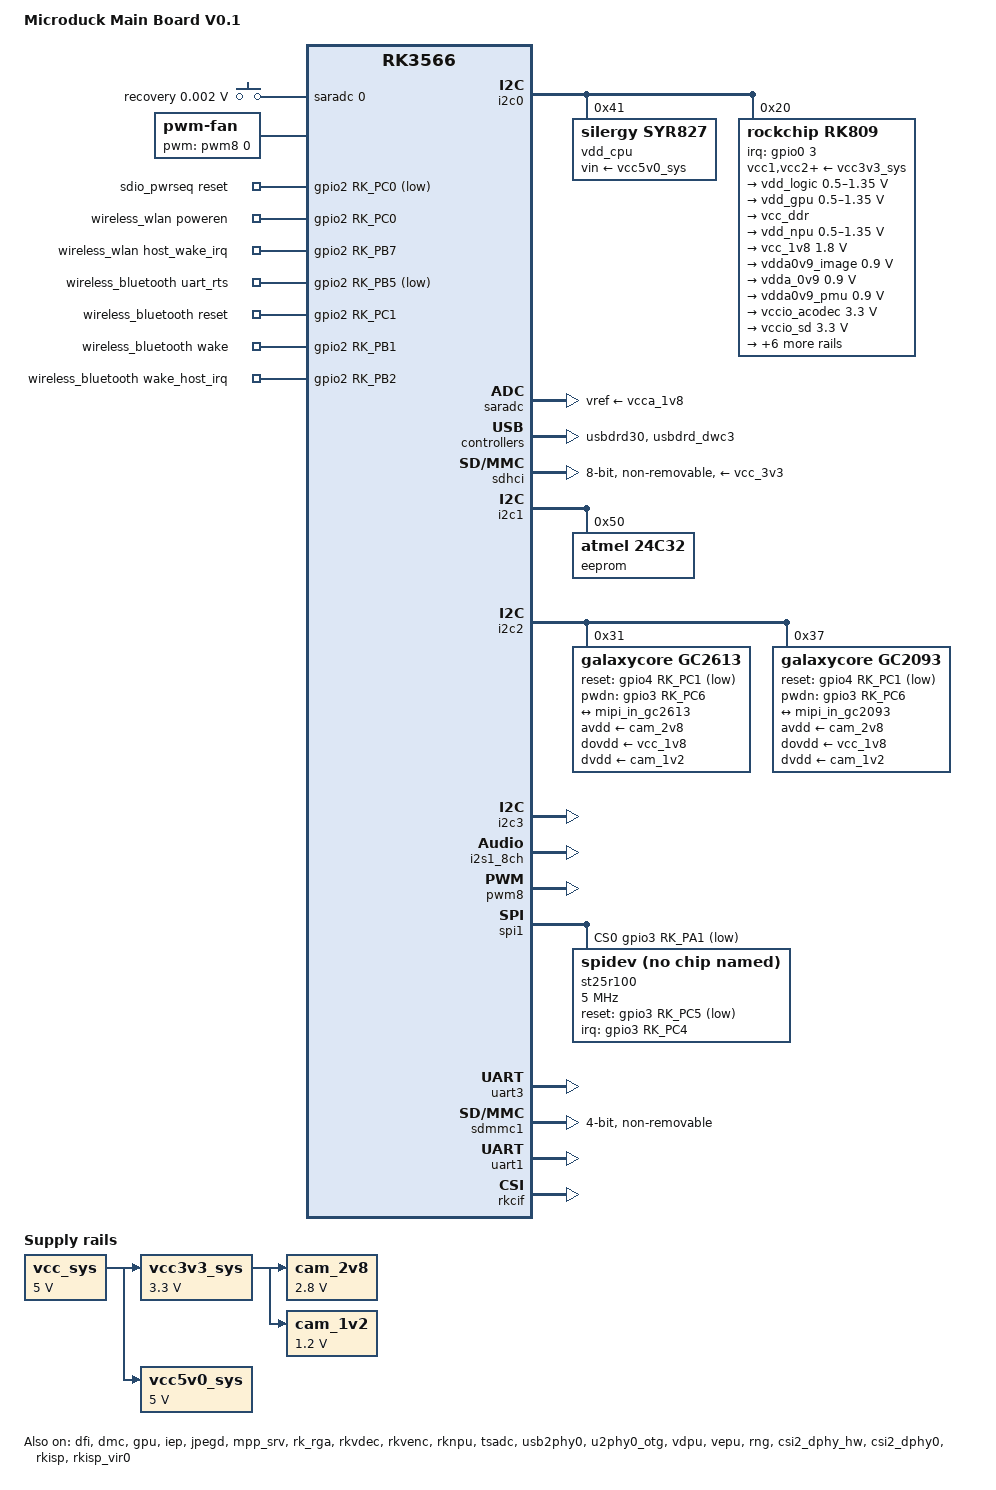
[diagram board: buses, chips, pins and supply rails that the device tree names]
// SPDX-License-Identifier: (GPL-2.0+ OR MIT)
/*
 * Copyright (c) 2022 Rockchip Electronics Co., Ltd.
 * Copyright (c) 2026 Microduck Team.
 *
 * Microduck board DTS. Platform, power tree, debug UART, eMMC, USB-C OTG,
 * recovery key, EEPROM, Qwiic, fan, audio, GC2613/GC2093 camera, NFC,
 * DYNAMIXEL and WQ9201S wireless follow the D4 (sch_0915) schematic.
 * Electrical details are pending first-board validation.
 */

/dts-v1/;

#include <dt-bindings/clock/rk3568-cru.h>
#include <dt-bindings/gpio/gpio.h>
#include <dt-bindings/pinctrl/rockchip.h>
#include <dt-bindings/input/rk-input.h>
#include <dt-bindings/power/rk3568-power.h>
#include "rk3566.dtsi"

/ {
	model = "Microduck Main Board V0.1";
	compatible = "seeed,microduck", "rockchip,rk3566";

	fiq_debugger: fiq-debugger {
		compatible = "rockchip,fiq-debugger";
		rockchip,serial-id = <2>;
		rockchip,wake-irq = <0>;
		/* If enable uart uses irq instead of fiq */
		rockchip,irq-mode-enable = <1>;
		rockchip,baudrate = <1500000>;  /* Only 115200 and 1500000 */
		interrupts = <GIC_SPI 252 IRQ_TYPE_LEVEL_LOW>;
		pinctrl-names = "default";
		pinctrl-0 = <&uart2m0_xfer>;
		status = "okay";
	};

	debug: debug@fd904000 {
		compatible = "rockchip,debug";
		reg = <0x0 0xfd904000 0x0 0x1000>,
			<0x0 0xfd905000 0x0 0x1000>,
			<0x0 0xfd906000 0x0 0x1000>,
			<0x0 0xfd907000 0x0 0x1000>;
	};

	cspmu: cspmu@fd90c000 {
		compatible = "rockchip,cspmu";
		reg = <0x0 0xfd90c000 0x0 0x1000>,
			<0x0 0xfd90d000 0x0 0x1000>,
			<0x0 0xfd90e000 0x0 0x1000>,
			<0x0 0xfd90f000 0x0 0x1000>;
	};

	vcc_sys: vcc-sys {
		compatible = "regulator-fixed";
		regulator-name = "vcc_sys";
		regulator-always-on;
		regulator-boot-on;
		regulator-min-microvolt = <5000000>;
		regulator-max-microvolt = <5000000>;
	};

	vcc3v3_sys: vcc3v3-sys {
		compatible = "regulator-fixed";
		regulator-name = "vcc3v3_sys";
		regulator-always-on;
		regulator-boot-on;
		regulator-min-microvolt = <3300000>;
		regulator-max-microvolt = <3300000>;
		vin-supply = <&vcc_sys>;
	};

	vcc5v0_sys: vcc5v0-sys {
		compatible = "regulator-fixed";
		regulator-name = "vcc5v0_sys";
		regulator-always-on;
		regulator-boot-on;
		regulator-min-microvolt = <5000000>;
		regulator-max-microvolt = <5000000>;
		vin-supply = <&vcc_sys>;
	};

	/* Recovery key on SW2 pulls SARADC_VIN0 low (sheet 21) */
	adc_keys: adc-keys {
		compatible = "adc-keys";
		io-channels = <&saradc 0>;
		io-channel-names = "buttons";
		keyup-threshold-microvolt = <1800000>;
		poll-interval = <100>;

		recovery-key {
			label = "recovery";
			linux,code = <KEY_F12>;
			press-threshold-microvolt = <1750>;
		};
	};

	/*
	 * Camera rails: CAM_1V8 is VCC_1V8 through R24 0R. CAM_1V2/CAM_2V8
	 * come from SGM2036S LDOs whose EN pins chain off CAM_1V8/CAM_1V2,
	 * so all three rails are always on (sheet 15).
	 */
	cam_2v8: cam-2v8 {
		compatible = "regulator-fixed";
		regulator-name = "cam_2v8";
		regulator-always-on;
		regulator-boot-on;
		regulator-min-microvolt = <2800000>;
		regulator-max-microvolt = <2800000>;
		vin-supply = <&vcc3v3_sys>;
	};

	cam_1v2: cam-1v2 {
		compatible = "regulator-fixed";
		regulator-name = "cam_1v2";
		regulator-always-on;
		regulator-boot-on;
		regulator-min-microvolt = <1200000>;
		regulator-max-microvolt = <1200000>;
		vin-supply = <&vcc3v3_sys>;
	};

	/* 5V 4-wire fan: PWM8_M0 through SN74LVC1T45 level shift (sheet 21) */
	fan: pwm-fan {
		compatible = "pwm-fan";
		pwms = <&pwm8 0 40000 0>;
		#cooling-cells = <2>;
		cooling-levels = <0 64 128 192 255>;
	};

	/* RK809 codec HPL_OUT feeds NS4150B mono amp (sheet 7) */
	rk809_sound: rk809-sound {
		status = "okay";
		compatible = "simple-audio-card";
		simple-audio-card,format = "i2s";
		simple-audio-card,name = "rockchip,rk809-codec";
		simple-audio-card,mclk-fs = <256>;
		simple-audio-card,cpu {
			sound-dai = <&i2s1_8ch>;
		};
		simple-audio-card,codec {
			sound-dai = <&rk809_codec>;
		};
	};

	/*
	 * WQ9201S WiFi/BT module (WL6201S, sheet 22). All signals are in
	 * the VCCIO4 domain at 1.8V (sheet 14).
	 */
	sdio_pwrseq: sdio-pwrseq {
		compatible = "mmc-pwrseq-simple";
		pinctrl-names = "default";
		pinctrl-0 = <&wifi_enable_h>;
		post-power-on-delay-ms = <200>;
		reset-gpios = <&gpio2 RK_PC0 GPIO_ACTIVE_LOW>; /* WIFI_REG_ON_H */
	};

	wireless_wlan: wireless-wlan {
		compatible = "wlan-platdata";
		rockchip,grf = <&grf>;
		WIFI,poweren_gpio = <&gpio2 RK_PC0 GPIO_ACTIVE_HIGH>;
		pinctrl-names = "default";
		pinctrl-0 = <&wifi_host_wake_irq>;
		WIFI,host_wake_irq = <&gpio2 RK_PB7 GPIO_ACTIVE_HIGH>;
		status = "okay";
	};

	wireless_bluetooth: wireless-bluetooth {
		compatible = "bluetooth-platdata";
		uart_rts_gpios = <&gpio2 RK_PB5 GPIO_ACTIVE_LOW>;
		pinctrl-names = "default", "rts_gpio";
		pinctrl-0 = <&uart1m0_rtsn>;
		pinctrl-1 = <&uart1_gpios>;
		BT,reset_gpio    = <&gpio2 RK_PC1 GPIO_ACTIVE_HIGH>; /* BT_REG_ON_H */
		BT,wake_gpio     = <&gpio2 RK_PB1 GPIO_ACTIVE_HIGH>; /* HOST_WAKE_BT_H */
		BT,wake_host_irq = <&gpio2 RK_PB2 GPIO_ACTIVE_HIGH>; /* BT_WAKE_HOST_H */
		status = "okay";
	};
};

&cpu0 {
	cpu-supply = <&vdd_cpu>;
};

&dfi {
	status = "okay";
};

&dmc {
	center-supply = <&vdd_logic>;
	status = "okay";
};

&gpu {
	mali-supply = <&vdd_gpu>;
	status = "okay";
};

&pmu_io_domains {
	status = "okay";
	pmuio1-supply = <&vcc3v3_pmu>;
	pmuio2-supply = <&vcc3v3_pmu>;
	vccio1-supply = <&vccio_acodec>;
	vccio2-supply = <&vcc_1v8>;
	vccio3-supply = <&vccio_sd>;
	vccio4-supply = <&vcc_1v8>;
	vccio5-supply = <&vcc_3v3>;
	vccio6-supply = <&vcc_1v8>;
	vccio7-supply = <&vcc_3v3>;
};

&i2c0 {
	status = "okay";

	/* chip answers at 0x41 on D4 hardware (measured via i2cdetect) */
	vdd_cpu: rk860x@41 {
		status = "okay";
		compatible = "silergy,syr827";
		reg = <0x41>;
		vin-supply = <&vcc5v0_sys>;
		regulator-compatible = "fan53555-reg";
		regulator-name = "vdd_cpu";
		regulator-min-microvolt = <712500>;
		regulator-max-microvolt = <1390000>;
		regulator-init-microvolt = <1000000>;
		regulator-ramp-delay = <2300>;
		fcs,suspend-voltage-selector = <1>;
		regulator-boot-on;
		regulator-always-on;
		regulator-state-mem {
			regulator-off-in-suspend;
		};
	};

	rk809: pmic@20 {
		compatible = "rockchip,rk809";
		reg = <0x20>;
		interrupt-parent = <&gpio0>;
		interrupts = <3 IRQ_TYPE_LEVEL_LOW>;

		pinctrl-names = "default", "pmic-sleep",
				"pmic-power-off", "pmic-reset";
		pinctrl-0 = <&pmic_int>;
		pinctrl-1 = <&soc_slppin_slp>, <&rk809_slppin_slp>;
		pinctrl-2 = <&soc_slppin_gpio>, <&rk809_slppin_pwrdn>;
		pinctrl-3 = <&soc_slppin_gpio>, <&rk809_slppin_rst>;
		rockchip,system-power-controller;
		wakeup-source;
		#clock-cells = <1>;
		clock-output-names = "rk808-clkout1", "rk808-clkout2";
		/* 1: rst regs (default in codes), 0: rst the pmic */
		pmic-reset-func = <0>;
		/* not save the PMIC_POWER_EN register in uboot */
		not-save-power-en = <1>;

		/* all RK809 VCC inputs are VCC3V3_SYS (sheet 6) */
		vcc1-supply = <&vcc3v3_sys>;
		vcc2-supply = <&vcc3v3_sys>;
		vcc3-supply = <&vcc3v3_sys>;
		vcc4-supply = <&vcc3v3_sys>;
		vcc5-supply = <&vcc3v3_sys>;
		vcc6-supply = <&vcc3v3_sys>;
		vcc7-supply = <&vcc3v3_sys>;
		vcc8-supply = <&vcc3v3_sys>;
		vcc9-supply = <&vcc3v3_sys>;

		pwrkey {
			status = "okay";
		};

		pinctrl_rk8xx: pinctrl_rk8xx {
			gpio-controller;
			#gpio-cells = <2>;

			rk809_slppin_null: rk809_slppin_null {
				pins = "gpio_slp";
				function = "pin_fun0";
			};

			rk809_slppin_slp: rk809_slppin_slp {
				pins = "gpio_slp";
				function = "pin_fun1";
			};

			rk809_slppin_pwrdn: rk809_slppin_pwrdn {
				pins = "gpio_slp";
				function = "pin_fun2";
			};

			rk809_slppin_rst: rk809_slppin_rst {
				pins = "gpio_slp";
				function = "pin_fun3";
			};
		};

		regulators {
			vdd_logic: DCDC_REG1 {
				regulator-always-on;
				regulator-boot-on;
				regulator-min-microvolt = <500000>;
				regulator-max-microvolt = <1350000>;
				regulator-init-microvolt = <900000>;
				regulator-ramp-delay = <6001>;
				regulator-initial-mode = <0x2>;
				regulator-name = "vdd_logic";
				regulator-state-mem {
					regulator-off-in-suspend;
					regulator-suspend-microvolt = <900000>;
				};
			};

			vdd_gpu: DCDC_REG2 {
				regulator-always-on;
				regulator-boot-on;
				regulator-min-microvolt = <500000>;
				regulator-max-microvolt = <1350000>;
				regulator-init-microvolt = <900000>;
				regulator-ramp-delay = <6001>;
				regulator-initial-mode = <0x2>;
				regulator-name = "vdd_gpu";
				regulator-state-mem {
					regulator-off-in-suspend;
				};
			};

			vcc_ddr: DCDC_REG3 {
				regulator-always-on;
				regulator-boot-on;
				regulator-initial-mode = <0x2>;
				regulator-name = "vcc_ddr";
				regulator-state-mem {
					regulator-on-in-suspend;
				};
			};

			vdd_npu: DCDC_REG4 {
				regulator-always-on;
				regulator-boot-on;
				regulator-min-microvolt = <500000>;
				regulator-max-microvolt = <1350000>;
				regulator-init-microvolt = <900000>;
				regulator-ramp-delay = <6001>;
				regulator-initial-mode = <0x2>;
				regulator-name = "vdd_npu";
			};

			/* on in suspend: feeds eMMC VCCQ and LPDDR4X VDD1 */
			vcc_1v8: DCDC_REG5 {
				regulator-always-on;
				regulator-boot-on;
				regulator-min-microvolt = <1800000>;
				regulator-max-microvolt = <1800000>;
				regulator-name = "vcc_1v8";
				regulator-state-mem {
					regulator-on-in-suspend;
					regulator-suspend-microvolt = <1800000>;
				};
			};

			vdda0v9_image: LDO_REG1 {
				regulator-always-on;
				regulator-boot-on;
				regulator-min-microvolt = <900000>;
				regulator-max-microvolt = <900000>;
				regulator-name = "vdda0v9_image";
			};

			vdda_0v9: LDO_REG2 {
				regulator-always-on;
				regulator-boot-on;
				regulator-min-microvolt = <900000>;
				regulator-max-microvolt = <900000>;
				regulator-name = "vdda_0v9";
				regulator-state-mem {
					regulator-off-in-suspend;
				};
			};

			vdda0v9_pmu: LDO_REG3 {
				regulator-always-on;
				regulator-boot-on;
				regulator-min-microvolt = <900000>;
				regulator-max-microvolt = <900000>;
				regulator-name = "vdda0v9_pmu";
				regulator-state-mem {
					regulator-on-in-suspend;
					regulator-suspend-microvolt = <900000>;
				};
			};

			vccio_acodec: LDO_REG4 {
				regulator-always-on;
				regulator-boot-on;
				regulator-min-microvolt = <3300000>;
				regulator-max-microvolt = <3300000>;
				regulator-name = "vccio_acodec";
				regulator-state-mem {
					regulator-off-in-suspend;
				};
			};

			vccio_sd: LDO_REG5 {
				regulator-always-on;
				regulator-boot-on;
				regulator-min-microvolt = <3300000>;
				regulator-max-microvolt = <3300000>;
				regulator-name = "vccio_sd";
				regulator-state-mem {
					regulator-off-in-suspend;
				};
			};

			vcc3v3_pmu: LDO_REG6 {
				regulator-always-on;
				regulator-boot-on;
				regulator-min-microvolt = <3300000>;
				regulator-max-microvolt = <3300000>;
				regulator-name = "vcc3v3_pmu";
				regulator-state-mem {
					regulator-on-in-suspend;
					regulator-suspend-microvolt = <3300000>;
				};
			};

			vcca_1v8: LDO_REG7 {
				regulator-always-on;
				regulator-boot-on;
				regulator-min-microvolt = <1800000>;
				regulator-max-microvolt = <1800000>;
				regulator-name = "vcca_1v8";
				regulator-state-mem {
					regulator-off-in-suspend;
				};
			};

			vcca1v8_pmu: LDO_REG8 {
				regulator-always-on;
				regulator-boot-on;
				regulator-min-microvolt = <1800000>;
				regulator-max-microvolt = <1800000>;
				regulator-name = "vcca1v8_pmu";
				regulator-state-mem {
					regulator-on-in-suspend;
					regulator-suspend-microvolt = <1800000>;
				};
			};

			vcca1v8_image: LDO_REG9 {
				regulator-always-on;
				regulator-boot-on;
				regulator-min-microvolt = <1800000>;
				regulator-max-microvolt = <1800000>;
				regulator-name = "vcca1v8_image";
			};

			vcc_3v3: SWITCH_REG1 {
				regulator-always-on;
				regulator-boot-on;
				regulator-name = "vcc_3v3";
				regulator-state-mem {
					regulator-on-in-suspend;
				};
			};

			/* no SD slot; load pending confirmation */
			vcc3v3_sd: SWITCH_REG2 {
				regulator-always-on;
				regulator-boot-on;
				regulator-name = "vcc3v3_sd";
			};
		};

		/* I2S1_M0 link; spk-ctl drives NS4150B CTRL (sheets 7, 18) */
		rk809_codec: codec {
			#sound-dai-cells = <0>;
			compatible = "rockchip,rk809-codec", "rockchip,rk817-codec";
			clocks = <&cru I2S1_MCLKOUT_TX>;
			clock-names = "mclk";
			assigned-clocks = <&cru I2S1_MCLKOUT_TX>;
			assigned-clock-parents = <&cru MCLK_I2S1_8CH_TX>;
			pinctrl-names = "default";
			pinctrl-0 = <&i2s1m0_mclk>;
			spk-ctl-gpios = <&gpio1 RK_PB0 GPIO_ACTIVE_HIGH>;
			hp-volume = <20>;
			spk-volume = <3>;
			status = "okay";
		};
	};
};

&iep {
	status = "okay";
};

&iep_mmu {
	status = "okay";
};

&jpegd {
	status = "okay";
};

&jpegd_mmu {
	status = "okay";
};

&mpp_srv {
	status = "okay";
};

&rk_rga {
	status = "okay";
};

&rkvdec {
	status = "okay";
};

&rkvdec_mmu {
	status = "okay";
};

&rkvenc {
	venc-supply = <&vdd_logic>;
	status = "okay";
};

&rkvenc_mmu {
	status = "okay";
};

&rknpu {
	status = "okay";
	rknpu-supply = <&vdd_npu>;
};

&saradc {
	status = "okay";
	vref-supply = <&vcca_1v8>;
};

&tsadc {
	status = "okay";
};

&usb2phy0 {
	status = "okay";
};

&u2phy0_otg {
	status = "okay";
};

&usbdrd30 {
	status = "okay";
};

&usbdrd_dwc3 {
	status = "okay";
};

&vdpu {
	status = "okay";
};

&vdpu_mmu {
	status = "okay";
};

&vepu {
	status = "okay";
};

&vepu_mmu {
	status = "okay";
};

&reserved_memory {
	ramoops: ramoops@110000 {
		compatible = "ramoops";
		reg = <0x0 0x110000 0x0 0xf0000>;
		record-size = <0x20000>;
		console-size = <0x80000>;
		ftrace-size = <0x00000>;
		pmsg-size = <0x50000>;
	};
};

&rng {
	status = "okay";
};

&rockchip_suspend {
	status = "okay";
};

&sdhci {
	bus-width = <8>;
	supports-emmc;
	non-removable;
	max-frequency = <100000000>;
	vmmc-supply = <&vcc_3v3>;
	vqmmc-supply = <&vcc_1v8>;
	status = "okay";
};

&pinctrl {
	pmic {
		pmic_int: pmic_int {
			rockchip,pins =
				<0 RK_PA3 RK_FUNC_GPIO &pcfg_pull_up>;
		};

		soc_slppin_gpio: soc_slppin_gpio {
			rockchip,pins =
				<0 RK_PA2 RK_FUNC_GPIO &pcfg_output_low_pull_down>;
		};

		soc_slppin_slp: soc_slppin_slp {
			rockchip,pins =
				<0 RK_PA2 RK_FUNC_GPIO  &pcfg_pull_up>;
		};

		soc_slppin_rst: soc_slppin_rst {
			rockchip,pins =
				<0 RK_PA2 RK_FUNC_GPIO  &pcfg_pull_none>;
		};
	};
};

/* I2C1 M0 (PMUIO2, 3.3V): board ID EEPROM FT24C32A @ 0x50 (sheets 11, 24) */
&i2c1 {
	status = "okay";
	pinctrl-names = "default";
	pinctrl-0 = <&i2c1_xfer>;

	eeprom@50 {
		compatible = "atmel,24c32";
		reg = <0x50>;
		pagesize = <32>;
	};
};

/*
 * I2C2 M1 (VCCIO6, 1.8V): camera socket U14 (sheet 15). GC2613 (0x31)
 * and GC2093 (0x37) share the bus, reset/pwdn GPIOs, supplies and the
 * csi2_dphy0 -> rkisp_vir0 pipeline. Only one sensor is populated at a
 * time; the absent one fails chip-id probe and the pipeline binds to
 * the sensor that actually probes. Addresses/polarities pending
 * first-board verification.
 */
&i2c2 {
	status = "okay";
	pinctrl-names = "default";
	pinctrl-0 = <&i2c2m1_xfer>;

	gc2613: gc2613@31 {
		compatible = "galaxycore,gc2613";
		reg = <0x31>;
		clocks = <&cru CLK_CIF_OUT>;
		clock-names = "xvclk";
		reset-gpios = <&gpio4 RK_PC1 GPIO_ACTIVE_LOW>;
		pwdn-gpios = <&gpio3 RK_PC6 GPIO_ACTIVE_HIGH>;
		avdd-supply = <&cam_2v8>;
		dovdd-supply = <&vcc_1v8>;
		dvdd-supply = <&cam_1v2>;
		power-domains = <&power RK3568_PD_VI>;
		rockchip,camera-module-index = <1>;
		rockchip,camera-module-facing = "back";
		rockchip,camera-module-name = "ZE2689-PD2613";
		rockchip,camera-module-lens-name = "default";
		status = "okay";

		port {
			gc2613_out: endpoint {
				remote-endpoint = <&mipi_in_gc2613>;
				data-lanes = <1 2>;
			};
		};
	};

	gc2093: gc2093@37 {
		compatible = "galaxycore,gc2093";
		reg = <0x37>;
		clocks = <&cru CLK_CIF_OUT>;
		clock-names = "xvclk";
		reset-gpios = <&gpio4 RK_PC1 GPIO_ACTIVE_LOW>;
		pwdn-gpios = <&gpio3 RK_PC6 GPIO_ACTIVE_HIGH>;
		avdd-supply = <&cam_2v8>;
		dovdd-supply = <&vcc_1v8>;
		dvdd-supply = <&cam_1v2>;
		power-domains = <&power RK3568_PD_VI>;
		rockchip,camera-module-index = <0>;
		rockchip,camera-module-facing = "back";
		rockchip,camera-module-name = "SIDB205300385-VA";
		rockchip,camera-module-lens-name = "default";
		status = "okay";

		port {
			gc2093_out: endpoint {
				remote-endpoint = <&mipi_in_gc2093>;
				data-lanes = <1 2>;
			};
		};
	};
};

/* I2C3 M1 (VCCIO5, 3.3V): Qwiic J6 and Face Board BTB share this bus */
&i2c3 {
	status = "okay";
	pinctrl-names = "default";
	pinctrl-0 = <&i2c3m1_xfer>;
};

&i2s1_8ch {
	status = "okay";
	pinctrl-names = "default";
	pinctrl-0 = <&i2s1m0_sclktx
		     &i2s1m0_lrcktx
		     &i2s1m0_sdi0
		     &i2s1m0_sdo0>;
};

&pwm8 {
	status = "okay";
	pinctrl-names = "active";
	pinctrl-0 = <&pwm8m0_pins>;
};

/*
 * SPI1 M1 (VCCIO5, 3.3V): ST25R100 NFC (sheets 17, 23).
 * No in-tree driver in vendor 6.1; node stays disabled until the ST
 * driver is ported and IRQ/reset polarities are confirmed on hardware.
 */
&spi1 {
	status = "okay";
	pinctrl-names = "default";
	pinctrl-0 = <&spi1m1_pins>;
	cs-gpios = <&gpio3 RK_PA1 GPIO_ACTIVE_LOW>;

	/* no kernel driver for st25r100; spidev for userspace access */
	st25r100@0 {
		compatible = "spidev";
		reg = <0>;
		status = "okay";
		spi-max-frequency = <5000000>;
		interrupt-parent = <&gpio3>;
		interrupts = <RK_PC4 IRQ_TYPE_EDGE_RISING>;
		reset-gpios = <&gpio3 RK_PC5 GPIO_ACTIVE_LOW>;
	};
};

/* UART3 M1: DYNAMIXEL half-duplex bus via SN74LVC1G126/1G125 (sheet 24) */
&uart3 {
	status = "okay";
	pinctrl-names = "default";
	pinctrl-0 = <&uart3m1_xfer>;
};

/* SDMMC1 (VCCIO4, 1.8V): WQ9201S SDIO WiFi (sheets 14, 22) */
&sdmmc1 {
	supports-sdio;
	bus-width = <4>;
	disable-wp;
	cap-sd-highspeed;
	cap-sdio-irq;
	keep-power-in-suspend;
	non-removable;
	no-sd;
	no-mmc;
	rockchip,default-sample-phase = <180>;
	mmc-pwrseq = <&sdio_pwrseq>;
	pinctrl-names = "default";
	pinctrl-0 = <&sdmmc1_bus4 &sdmmc1_cmd &sdmmc1_clk>;
	sd-uhs-sdr104;
	status = "okay";
};

/* UART1 M0 (VCCIO4, 1.8V): WQ9201S Bluetooth HCI (sheets 14, 22) */
&uart1 {
	status = "okay";
	pinctrl-names = "default";
	pinctrl-0 = <&uart1m0_xfer &uart1m0_ctsn>;
};

&pinctrl {
	wifi {
		wifi_enable_h: wifi-enable-h {
			rockchip,pins = <2 RK_PC0 RK_FUNC_GPIO &pcfg_pull_none>;
		};

		wifi_host_wake_irq: wifi-host-wake-irq {
			rockchip,pins = <2 RK_PB7 RK_FUNC_GPIO &pcfg_pull_down>;
		};
	};

	wireless-bluetooth {
		uart1_gpios: uart1-gpios {
			rockchip,pins = <2 RK_PB5 RK_FUNC_GPIO &pcfg_pull_none>;
		};
	};
};

/* camera -> csi2_dphy0 -> rkisp_vir0, 2-lane (sheets 15, 16) */
&csi2_dphy_hw {
	status = "okay";
};

&csi2_dphy0 {
	status = "okay";
	ports {
		#address-cells = <1>;
		#size-cells = <0>;
		port@0 {
			#address-cells = <1>;
			#size-cells = <0>;
			mipi_in_gc2613: endpoint@1 {
				reg = <1>;
				remote-endpoint = <&gc2613_out>;
				data-lanes = <1 2>;
			};
			mipi_in_gc2093: endpoint@2 {
				reg = <2>;
				remote-endpoint = <&gc2093_out>;
				data-lanes = <1 2>;
			};
		};
		port@1 {
			#address-cells = <1>;
			#size-cells = <0>;
			dphy0_out: endpoint@1 {
				reg = <1>;
				remote-endpoint = <&isp0_in>;
			};
		};
	};
};

&rkisp {
	status = "okay";
};

&rkisp_mmu {
	status = "okay";
};

&rkisp_vir0 {
	status = "okay";
	port {
		#address-cells = <1>;
		#size-cells = <0>;
		isp0_in: endpoint@0 {
			reg = <0>;
			remote-endpoint = <&dphy0_out>;
		};
	};
};

/* rkcif drives CIF_CLKOUT (GPIO4_C0, 1.8V) as the 24MHz sensor MCLK */
&rkcif {
	status = "okay";
	pinctrl-names = "default";
	pinctrl-0 = <&cif_clk>;
	assigned-clocks = <&cru CLK_CIF_OUT>;
	assigned-clock-rates = <24000000>;
};

&rkcif_mmu {
	status = "okay";
};
